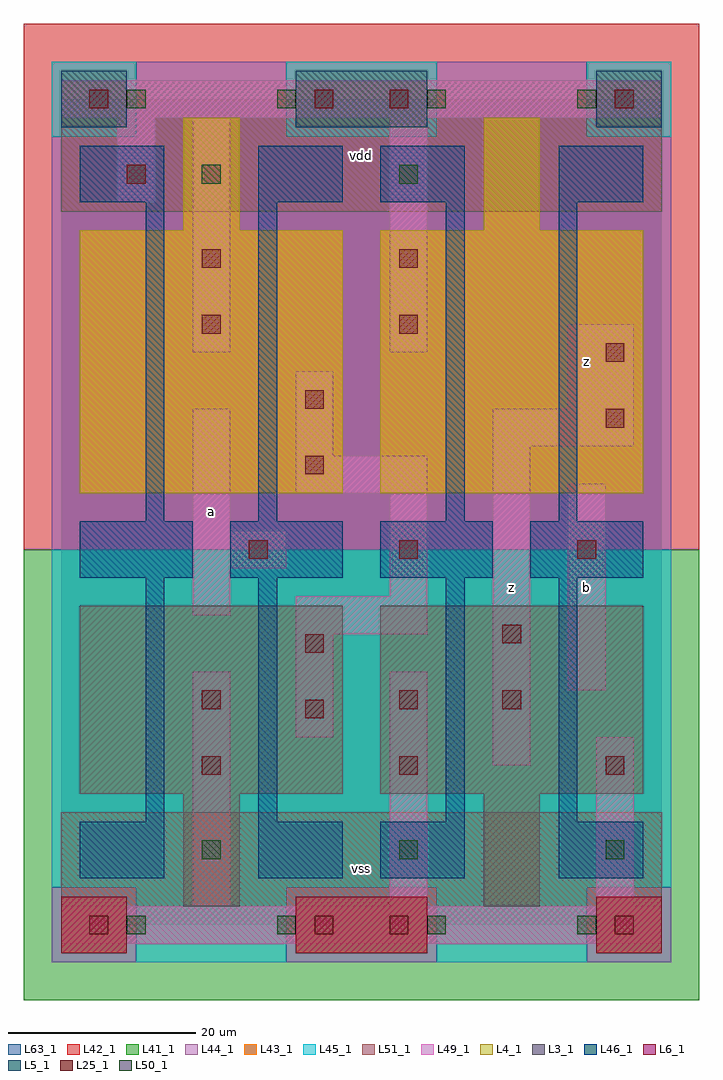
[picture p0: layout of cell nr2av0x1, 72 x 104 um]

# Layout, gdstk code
import gdstk
lib = gdstk.Library(unit=1e-6, precision=1e-09)
def R(c, l, rs):  # rectangles x0, y0, x1, y1
    for r in rs: c.add(gdstk.rectangle(r[:2], r[2:], *l))
def A(c, l, x, y, w, h, nx, ny, dx, dy):  # array of equal rectangles
    R(c, l, [(x+i*dx, y+j*dy, x+i*dx+w, y+j*dy+h) for i in range(nx) for j in range(ny)])
L3_1 = (3, 1)
L4_1 = (4, 1)
L5_1 = (5, 1)
L6_1 = (6, 1)
L25_1 = (25, 1)
L41_1 = (41, 1)
L42_1 = (42, 1)
L43_1 = (43, 1)
L44_1 = (44, 1)
L45_1 = (45, 1)
L46_1 = (46, 1)
L49_1 = (49, 1)
L50_1 = (50, 1)
L51_1 = (51, 1)
L63_1 = (63, 1)

nr2av0x1 = lib.new_cell('nr2av0x1')
R(nr2av0x1, L3_1, [(13,2,19,14), (45,2,51,14), (2,14,30,34), (34,14,62,34)])
R(nr2av0x1, L4_1, [(2,46,30,74), (34,46,62,74), (13,74,19,86), (45,74,51,86)])
R(nr2av0x1, L5_1, [(0,85,7,91), (25,85,39,91), (57,85,64,91)])
R(nr2av0x1, L6_1, [(0,-3,7,3), (0,-3,7,3), (25,-3,39,3), (25,-3,39,3), (57,-3,64,3), (57,-3,64,3)])
R(nr2av0x1, L25_1, [(3,-1,5,1), (27,-1,29,1), (35,-1,37,1), (59,-1,61,1), (15,16,17,18), (36,16,38,18), (58,16,60,18), (26,22,28,24), (15,23,17,25), (36,23,38,25), (47,23,49,25), (26,29,28,31), (47,30,49,32), (20,39,22,41), (36,39,38,41), (55,39,57,41), (26,48,28,50), (58,53,60,55), (26,55,28,57), (58,60,60,62), (15,63,17,65), (36,63,38,65), (15,70,17,72), (36,70,38,72), (7,79,9,81), (3,87,5,89), (27,87,29,89), (35,87,37,89), (59,87,61,89)])
R(nr2av0x1, L41_1, [(-4,-8,68,40)])
R(nr2av0x1, L42_1, [(-4,40,68,96)])
R(nr2av0x1, L43_1, [(0,-3,7,3), (25,-3,39,3), (57,-3,64,3), (13,2,19,14), (45,2,51,14), (2,14,30,34), (34,14,62,34), (2,46,30,74), (34,46,62,74), (13,74,19,86), (45,74,51,86), (0,85,7,91), (25,85,39,91), (57,85,64,91)])
R(nr2av0x1, L44_1, [(-1,-4,8,4), (24,-4,40,4), (56,-4,65,4), (-1,40,65,84), (8,84,24,92), (40,84,56,92)])
R(nr2av0x1, L45_1, [(8,-4,24,4), (40,-4,56,4), (-1,4,65,40), (-1,84,8,92), (24,84,40,92), (56,84,65,92)])
A(nr2av0x1, L46_1, 2, 37, 12, 6, 4, 1, 16, 0)
R(nr2av0x1, L46_1, [(2,5,11,11), (21,5,30,11), (34,5,43,11), (53,5,62,11), (9,11,11,37), (21,11,23,37), (41,11,43,37), (53,11,55,37), (9,43,11,77), (21,43,23,77), (41,43,43,77), (53,43,55,77), (2,77,11,83), (21,77,30,83), (34,77,43,83), (53,77,62,83)])
R(nr2av0x1, L49_1, [(0,-2,64,2), (14,2,18,27), (35,2,39,27), (57,2,61,20), (46,17,50,51), (25,20,29,31), (54,25,58,47), (25,31,39,35), (14,33,18,38), (35,35,39,46), (14,38,24,42), (14,42,18,55), (25,46,39,50), (25,50,29,59), (46,51,61,55), (54,55,61,64), (14,61,18,86), (35,61,39,86), (6,77,10,86), (0,86,64,90)])
A(nr2av0x1, L50_1, 7, -1, 2, 2, 4, 2, 16, 88)
R(nr2av0x1, L50_1, [(15,7,17,9), (36,7,38,9), (58,7,60,9), (15,79,17,81), (36,79,38,81)])
R(nr2av0x1, L51_1, [(0,-2,64,12), (0,76,64,90)])
R(nr2av0x1, L63_1, [(0,0,64,88)])
nr2av0x1.add(gdstk.Label('a', (16,44), layer=49, texttype=1))
nr2av0x1.add(gdstk.Label('z', (48,36), layer=49, texttype=1))
nr2av0x1.add(gdstk.Label('b', (56,36), layer=49, texttype=1))
nr2av0x1.add(gdstk.Label('z', (56,60), layer=49, texttype=1))
nr2av0x1.add(gdstk.Label('vss', (32,6), layer=51, texttype=1))
nr2av0x1.add(gdstk.Label('vdd', (32,82), layer=51, texttype=1))

lib.write_gds('nr2av0x1.gds')
